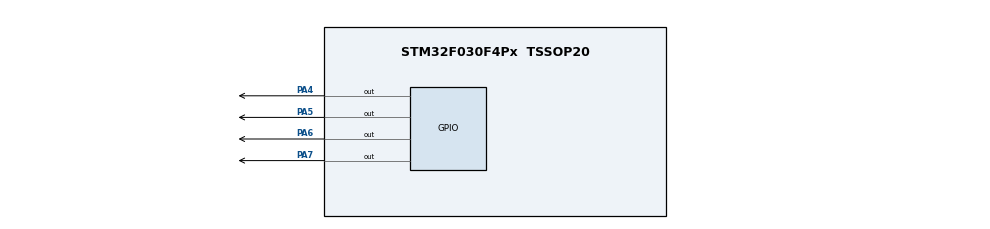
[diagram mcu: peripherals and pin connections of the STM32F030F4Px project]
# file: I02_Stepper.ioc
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Mcu.Family=STM32F0
Mcu.Name=STM32F030F4Px
Mcu.Package=TSSOP20
PA13.Mode=Serial_Wire
PA13.Signal=SYS_SWDIO
PA14.Mode=Serial_Wire
PA14.Signal=SYS_SWCLK
PA4.Signal=GPIO_Output
PA5.Signal=GPIO_Output
PA6.Signal=GPIO_Output
PA7.Signal=GPIO_Output
ProjectManager.HeapSize=0x200
ProjectManager.StackSize=0x400
ProjectManager.TargetToolchain=TrueSTUDIO
board=I02_Stepper

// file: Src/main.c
/**
  ******************************************************************************
  * File Name          : main.c
  * Description        : Main program body
  ******************************************************************************
  ** This notice applies to any and all portions of this file
  * that are not between comment pairs USER CODE BEGIN and
  * USER CODE END. Other portions of this file, whether
  * inserted by the user or by software development tools
  * are owned by their respective copyright owners.
  *
  * COPYRIGHT(c) 2018 STMicroelectronics
  *
  * Redistribution and use in source and binary forms, with or without modification,
  * are permitted provided that the following conditions are met:
  *   1. Redistributions of source code must retain the above copyright notice,
  *      this list of conditions and the following disclaimer.
  *   2. Redistributions in binary form must reproduce the above copyright notice,
  *      this list of conditions and the following disclaimer in the documentation
  *      and/or other materials provided with the distribution.
  *   3. Neither the name of STMicroelectronics nor the names of its contributors
  *      may be used to endorse or promote products derived from this software
  *      without specific prior written permission.
  *
  * THIS SOFTWARE IS PROVIDED BY THE COPYRIGHT HOLDERS AND CONTRIBUTORS "AS IS"
  * AND ANY EXPRESS OR IMPLIED WARRANTIES, INCLUDING, BUT NOT LIMITED TO, THE
  * IMPLIED WARRANTIES OF MERCHANTABILITY AND FITNESS FOR A PARTICULAR PURPOSE ARE
  * DISCLAIMED. IN NO EVENT SHALL THE COPYRIGHT HOLDER OR CONTRIBUTORS BE LIABLE
  * FOR ANY DIRECT, INDIRECT, INCIDENTAL, SPECIAL, EXEMPLARY, OR CONSEQUENTIAL
  * DAMAGES (INCLUDING, BUT NOT LIMITED TO, PROCUREMENT OF SUBSTITUTE GOODS OR
  * SERVICES; LOSS OF USE, DATA, OR PROFITS; OR BUSINESS INTERRUPTION) HOWEVER
  * CAUSED AND ON ANY THEORY OF LIABILITY, WHETHER IN CONTRACT, STRICT LIABILITY,
  * OR TORT (INCLUDING NEGLIGENCE OR OTHERWISE) ARISING IN ANY WAY OUT OF THE USE
  * OF THIS SOFTWARE, EVEN IF ADVISED OF THE POSSIBILITY OF SUCH DAMAGE.
  *
  ******************************************************************************
  */
#include "main.h"
#include "stm32f0xx_hal.h"

/* USER CODE BEGIN PV */
/* Private variables ---------------------------------------------------------*/

/* USER CODE END PV */

void SystemClock_Config(void);
static void MX_GPIO_Init(void);

/* USER CODE BEGIN PFP */
/* Private function prototypes -----------------------------------------------*/

/* USER CODE END PFP */

int main(void)
{

  /* MCU Configuration----------------------------------------------------------*/

  /* Reset of all peripherals, Initializes the Flash interface and the Systick. */
  HAL_Init();

  /* Configure the system clock */
  SystemClock_Config();

  /* Initialize all configured peripherals */
  MX_GPIO_Init();

  /* Infinite loop */
  while (1)
  {

  /* USER CODE BEGIN 3 */

	  // Step1
	  HAL_GPIO_WritePin(GPIOA, GPIO_PIN_4, GPIO_PIN_SET);
	  HAL_GPIO_WritePin(GPIOA, GPIO_PIN_5, GPIO_PIN_RESET);
	  HAL_GPIO_WritePin(GPIOA, GPIO_PIN_6, GPIO_PIN_RESET);
	  HAL_GPIO_WritePin(GPIOA, GPIO_PIN_7, GPIO_PIN_SET);

	  HAL_Delay(5);

	  // Step2
	  HAL_GPIO_WritePin(GPIOA, GPIO_PIN_4, GPIO_PIN_SET);
	  HAL_GPIO_WritePin(GPIOA, GPIO_PIN_5, GPIO_PIN_RESET);
	  HAL_GPIO_WritePin(GPIOA, GPIO_PIN_6, GPIO_PIN_SET);
	  HAL_GPIO_WritePin(GPIOA, GPIO_PIN_7, GPIO_PIN_RESET);

	  HAL_Delay(5);

	  // Step3
	  HAL_GPIO_WritePin(GPIOA, GPIO_PIN_4, GPIO_PIN_RESET);
	  HAL_GPIO_WritePin(GPIOA, GPIO_PIN_5, GPIO_PIN_SET);
	  HAL_GPIO_WritePin(GPIOA, GPIO_PIN_6, GPIO_PIN_SET);
	  HAL_GPIO_WritePin(GPIOA, GPIO_PIN_7, GPIO_PIN_RESET);

	  HAL_Delay(5);

	  // Step4
	  HAL_GPIO_WritePin(GPIOA, GPIO_PIN_4, GPIO_PIN_RESET);
	  HAL_GPIO_WritePin(GPIOA, GPIO_PIN_5, GPIO_PIN_SET);
	  HAL_GPIO_WritePin(GPIOA, GPIO_PIN_6, GPIO_PIN_RESET);
	  HAL_GPIO_WritePin(GPIOA, GPIO_PIN_7, GPIO_PIN_SET);

	  HAL_Delay(5);
  }
  /* USER CODE END 3 */

}

/** System Clock Configuration
*/
void SystemClock_Config(void)
{

  RCC_OscInitTypeDef RCC_OscInitStruct;
  RCC_ClkInitTypeDef RCC_ClkInitStruct;

    /**Initializes the CPU, AHB and APB busses clocks
    */
  RCC_OscInitStruct.OscillatorType = RCC_OSCILLATORTYPE_HSI;
  RCC_OscInitStruct.HSIState = RCC_HSI_ON;
  RCC_OscInitStruct.HSICalibrationValue = 16;
  RCC_OscInitStruct.PLL.PLLState = RCC_PLL_NONE;
  if (HAL_RCC_OscConfig(&RCC_OscInitStruct) != HAL_OK)
  {
    _Error_Handler(__FILE__, __LINE__);
  }

    /**Initializes the CPU, AHB and APB busses clocks
    */
  RCC_ClkInitStruct.ClockType = RCC_CLOCKTYPE_HCLK|RCC_CLOCKTYPE_SYSCLK
                              |RCC_CLOCKTYPE_PCLK1;
  RCC_ClkInitStruct.SYSCLKSource = RCC_SYSCLKSOURCE_HSI;
  RCC_ClkInitStruct.AHBCLKDivider = RCC_SYSCLK_DIV1;
  RCC_ClkInitStruct.APB1CLKDivider = RCC_HCLK_DIV1;

  if (HAL_RCC_ClockConfig(&RCC_ClkInitStruct, FLASH_LATENCY_0) != HAL_OK)
  {
    _Error_Handler(__FILE__, __LINE__);
  }

    /**Configure the Systick interrupt time
    */
  HAL_SYSTICK_Config(HAL_RCC_GetHCLKFreq()/1000);

    /**Configure the Systick
    */
  HAL_SYSTICK_CLKSourceConfig(SYSTICK_CLKSOURCE_HCLK);

  /* SysTick_IRQn interrupt configuration */
  HAL_NVIC_SetPriority(SysTick_IRQn, 0, 0);
}

/** Configure pins as
        * Analog
        * Input
        * Output
        * EVENT_OUT
        * EXTI
*/
static void MX_GPIO_Init(void)
{

  GPIO_InitTypeDef GPIO_InitStruct;

  /* GPIO Ports Clock Enable */
  __HAL_RCC_GPIOA_CLK_ENABLE();

  /*Configure GPIO pin Output Level */
  HAL_GPIO_WritePin(GPIOA, GPIO_PIN_4|GPIO_PIN_5|GPIO_PIN_6|GPIO_PIN_7, GPIO_PIN_RESET);

  /*Configure GPIO pins : PA4 PA5 PA6 PA7 */
  GPIO_InitStruct.Pin = GPIO_PIN_4|GPIO_PIN_5|GPIO_PIN_6|GPIO_PIN_7;
  GPIO_InitStruct.Mode = GPIO_MODE_OUTPUT_PP;
  GPIO_InitStruct.Pull = GPIO_NOPULL;
  GPIO_InitStruct.Speed = GPIO_SPEED_FREQ_LOW;
  HAL_GPIO_Init(GPIOA, &GPIO_InitStruct);

}

void _Error_Handler(char * file, int line)
{
  while(1)
  {
  }
}

/************************ (C) COPYRIGHT STMicroelectronics *****END OF FILE****/
